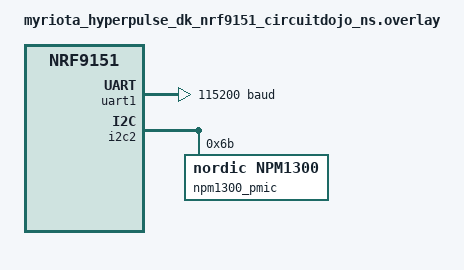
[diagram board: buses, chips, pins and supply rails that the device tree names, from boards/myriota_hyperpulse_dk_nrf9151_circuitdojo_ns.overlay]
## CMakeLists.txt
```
# Copyright (c) 2024-2025, Myriota Pty Ltd, All Rights Reserved

cmake_minimum_required(VERSION 3.20.0)

list(APPEND OVERLAY_CONFIG
     $ENV{ZEPHYR_BASE}/../modules/lib/myriota-hyperpulse/lib/config/nrf91_soc.conf)

find_package(Zephyr REQUIRED HINTS $ENV{ZEPHYR_BASE})
set(CMAKE_EXPORT_COMPILE_COMMANDS ON)

project(demo)

# Application sources
file(
  GLOB
  app_sources
  src/app_gnss.c
  src/configuration.c
  src/downlink_num.c
  src/hardware_controls.c
  src/main.c
  src/modem.c
  src/modem_urc.c
  src/periodic_uplink.c)
target_sources(app PRIVATE ${app_sources})

include_directories(include)
```

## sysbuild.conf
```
# sysbuild configuration file across targets

# Merge application hex and network information hex
SB_CONFIG_HYPERPULSE_MERGE_APP_AND_NETWORK_INFO=n
```

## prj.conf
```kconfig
# Common configuration file across targets

# Enable Module
CONFIG_HYPERPULSE=y

# Logging
CONFIG_LOG=y
CONFIG_LOG_PRINTK=y
CONFIG_LOG_DEFAULT_LEVEL=3
CONFIG_LOG_BUFFER_SIZE=10240
CONFIG_LOG_BACKEND_UART=y
CONFIG_LOG_TIMESTAMP_64BIT=y
CONFIG_LOG_RUNTIME_FILTERING=y
CONFIG_NCS_BOOT_BANNER=n

CONFIG_LED=y
CONFIG_LED_GPIO=y

# Shell support
CONFIG_SERIAL=y
CONFIG_CONSOLE=y
CONFIG_UART_CONSOLE=y
CONFIG_UART_LINE_CTRL=y
CONFIG_SHELL=y
CONFIG_SHELL_BACKEND_SERIAL=y
CONFIG_SHELL_PROMPT_UART="myriota:~$ "
CONFIG_SHELL_MINIMAL=y
CONFIG_SHELL_LOG_BACKEND=n
CONFIG_SHELL_HISTORY=y
CONFIG_SHELL_CMDS=y
CONFIG_SHELL_HELP=y
CONFIG_SHELL_HELP_OPT_PARSE=y
CONFIG_SHELL_AUTOSTART=n
CONFIG_SHELL_STACK_SIZE=4096

# Settings support
CONFIG_FILE_SYSTEM=y
CONFIG_FILE_SYSTEM_LITTLEFS=y

CONFIG_SETTINGS=y
CONFIG_SETTINGS_SHELL=y
CONFIG_SETTINGS_FILE=y
CONFIG_SETTINGS_FILE_PATH="/edge/settings"

CONFIG_PM_DEVICE=y

# Disable file system logging
CONFIG_FS_LOG_LEVEL_OFF=y

# FS is stack heavy
CONFIG_MAIN_STACK_SIZE=4096
CONFIG_SYSTEM_WORKQUEUE_STACK_SIZE=4096

CONFIG_STATIC_INIT_GNU=y

# Enable system reset on fatal error
CONFIG_RESET_ON_FATAL_ERROR=y

CONFIG_TFM_SECURE_UART1=n
```

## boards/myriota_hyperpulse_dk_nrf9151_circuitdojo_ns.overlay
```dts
/* Keep UART1 enabled for external FTDI test mode. */
&uart1 {
	status = "okay";
	current-speed = <115200>;
	pinctrl-0 = <&uart1_default>;
	pinctrl-1 = <&uart1_sleep>;
	pinctrl-names = "default", "sleep";
	/delete-property/ hw-flow-control;
};

/ {
	chosen {
		zephyr,console = &uart0;
		zephyr,shell-uart = &uart0;
	};

	aliases {
		led0 = &npm1300_led;
		led1 = &npm1300_led;
		led3 = &npm1300_led;
	};
};

&i2c2 {
	npm1300_pmic: pmic@6b {
		compatible = "nordic,npm1300";
		reg = <0x6b>;

		npm1300_led: leds {
			compatible = "nordic,npm1300-led";
			nordic,led0-mode = "host";
			nordic,led1-mode = "host";
			nordic,led2-mode = "host";
		};
	};
};
```

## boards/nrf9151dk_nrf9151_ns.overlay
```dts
/* Keep UART1 enabled for external FTDI test mode. */
&uart1 {
	status = "okay";
	current-speed = <115200>;
	pinctrl-0 = <&uart1_default>;
	pinctrl-1 = <&uart1_sleep>;
	pinctrl-names = "default", "sleep";
	/delete-property/ hw-flow-control;
};

/ {
	chosen {
		zephyr,console = &uart0;
		zephyr,shell-uart = &uart0;
	};
};
```

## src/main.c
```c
/****************************************************************
 * Copyright (c) 2025-2026, Myriota Pty Ltd, All Rights Reserved
 * @file  main.c
 * @brief Entry point for application
 *
 * SPDX-License-Identifier: BSD-3-Clause-Attribution
 *
 * This file is licensed under the BSD with attribution  (the "License"); you
 * may not use these files except in compliance with the License.
 *
 * You may obtain a copy of the License here:
 * LICENSE-BSD-3-Clause-Attribution.txt and at
 * https://spdx.org/licenses/BSD-3-Clause-Attribution.html
 *
 * See the License for the specific language governing permissions and
 * limitations under the License.
 *****************************************************************/
#include <zephyr/kernel.h>
#include <zephyr/logging/log.h>
#include <zephyr/shell/shell.h>
#include <zephyr/shell/shell_uart.h>
#include <zephyr/sys/printk.h>

#include <stdlib.h>

#include <app_version.h>
#include "git_version.h"

#include "app_gnss.h"
#include "configuration.h"
#include "hardware_controls.h"
#include "hyperpulse_lib.h"
#include "modem.h"
#include "periodic_uplink.h"

LOG_MODULE_REGISTER(demo_app, LOG_LEVEL_INF);

int main(void)
{
	printk("Demo Application: v%s\n", APP_VERSION_STRING);

	// Check for successful HyperPulse library initialisation at start of main
	// since CONFIG_HYPERPULSE_AUTO_LIB_INIT is set to y
	if (!hyperpulse_lib_is_initialised()) {
		LOG_ERR("HyperPulse library failed to initialise");
		return 0;
	}

	// Initialise configuration
	config_init();


	
	// Start shell after configuration has been initialised
	if (IS_ENABLED(CONFIG_SHELL_BACKEND_SERIAL)) {
		shell_start(shell_backend_uart_get_ptr());
	}

	// Initialise hardware control
	hardware_control_init();

	// Signal initialising complete
	hardware_control_flash_led(LED_1, 1);

	printk("HOLAS\n");

	// Wait for an initial valid GNSS fix before starting the message scheduler
	app_gnss_wait_for_valid_fix();

	modem_enable_downlink_message_notification();

	// Start the periodic uplink message scheduler
	periodic_uplink_init_and_start();

	// Signal message scheduler start
	hardware_control_flash_led(LED_1, 2);

	for (;;) {
		k_sleep(K_FOREVER);
	}

	return 0;
}

static void sh_print_app_version(const struct shell *sh, size_t argc, char **argv)
{
	ARG_UNUSED(argv);
	ARG_UNUSED(argc);
	shell_print(sh, "%s", APP_VERSION_STRING);
	return;
}

/* clang-format off */
SHELL_STATIC_SUBCMD_SET_CREATE(
	sub_app,
	SHELL_CMD(version, NULL, "print application version", sh_print_app_version),
	SHELL_SUBCMD_SET_END /* Array terminated. */
);
/* clang-format on */

SHELL_CMD_REGISTER(app, &sub_app, "Application commands", NULL);
```

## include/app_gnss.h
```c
/****************************************************************
 * Copyright (c) 2025, Myriota Pty Ltd, All Rights Reserved
 * @file  app_gnss.h
 * @brief Handle GNSS fix acquisition and related AT commands.
 *
 * SPDX-License-Identifier: BSD-3-Clause-Attribution
 *
 * This file is licensed under the BSD with attribution  (the "License"); you
 * may not use these files except in compliance with the License.
 *
 * You may obtain a copy of the License here:
 * LICENSE-BSD-3-Clause-Attribution.txt and at
 * https://spdx.org/licenses/BSD-3-Clause-Attribution.html
 *
 * See the License for the specific language governing permissions and
 * limitations under the License.
 *****************************************************************/
#ifndef APP_GNSS_H
#define APP_GNSS_H

#include "modem.h"

/**
 * @defgroup app_gnss GNSS Application Interface
 * @brief Functions to acquire and handle GNSS fixes using the HyperPulse library.
 *
 * This module provides functions to wait for a valid GNSS fix, retrieve
 * fix data, and queue location updates received via the modem's URC layer.
 * @{
 */

/**
 * @brief Block until a valid GNSS fix is obtained.
 *
 * This function is used at startup to ensure the system
 * has a valid location before proceeding.
 */
void app_gnss_wait_for_valid_fix(void);

/**
 * @brief Obtain the current GNSS fix (position and timestamp).
 *
 * @param[out] location Pointer to a struct to store the fix information.
 * @return 0 if succeeded, negative value if failed.
 */
int app_gnss_get_fix(modem_location_info_t *const location);

/**
 * @brief Called by the Modem URC layer when a parsed location is available.
 *
 * This function will queue the new location for the application to consume.
 *
 * @param[in] location Pointer to the location struct containing the new fix.
 * @return 0 if succeeded, negative value if failed.
 */
int app_gnss_push_location_to_queue(const modem_location_info_t *const location);

/** @} */ // end of app_gnss

#endif /* APP_GNSS_H */
```

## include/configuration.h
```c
/****************************************************************
 * Copyright (c) 2025, Myriota Pty Ltd, All Rights Reserved
 * @file  configuration.h
 * @brief Application configuration interface
 *
 * SPDX-License-Identifier: BSD-3-Clause-Attribution
 *
 * This file is licensed under the BSD with attribution  (the "License"); you
 * may not use these files except in compliance with the License.
 *
 * You may obtain a copy of the License here:
 * LICENSE-BSD-3-Clause-Attribution.txt and at
 * https://spdx.org/licenses/BSD-3-Clause-Attribution.html
 *
 * See the License for the specific language governing permissions and
 * limitations under the License.
 *****************************************************************/
#ifndef CONFIGURATION_H
#define CONFIGURATION_H

#include <stdint.h>
#include <stdbool.h>

/**
 * @defgroup app_config Application Configuration API
 * @brief Functions to initialize and retrieve application configuration parameters.
 * @{
 */

/**
 * @brief Initialize the configuration module.
 *
 * Must be called before any other configuration functions.
 *
 * @return 0 if succeeded, negative value if failed.
 */
int config_init(void);

/**
 * @brief Get the set configured time between transmitted messages.
 *
 * @return Message period in seconds.
 */
uint32_t config_get_uplink_message_period(void);

/**
 * @brief Check if GNSS fix is enabled for messages.
 *
 * @return true if GNSS fix is enabled, false otherwise.
 */
bool config_get_enable_gnss_state(void);

/**
 * @brief Check if humidity field is enabled for messages.
 *
 * @return true if humidity reporting is enabled, false otherwise.
 */
bool config_get_enable_humidity_state(void);

/** @} */ // end of app_config

#endif /* CONFIGURATION_H */
```

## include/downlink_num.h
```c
#ifndef DOWNLINK_NUM_H
#define DOWNLINK_NUM_H

#include <stdbool.h>
#include <stdint.h>

void downlink_num_set(uint8_t value);
bool downlink_num_get(uint8_t *value);

#endif // DOWNLINK_NUM_H
```

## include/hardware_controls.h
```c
/****************************************************************
 * Copyright (c) 2025, Myriota Pty Ltd, All Rights Reserved
 * @file  hardware_controls.h
 * @brief Interface for hardware control.
 *
 * SPDX-License-Identifier: BSD-3-Clause-Attribution
 *
 * This file is licensed under the BSD with attribution  (the "License"); you
 * may not use these files except in compliance with the License.
 *
 * You may obtain a copy of the License here:
 * LICENSE-BSD-3-Clause-Attribution.txt and at
 * https://spdx.org/licenses/BSD-3-Clause-Attribution.html
 *
 * See the License for the specific language governing permissions and
 * limitations under the License.
 *****************************************************************/
#ifndef HARDWARE_CONTROLS_H
#define HARDWARE_CONTROLS_H

/**
 * @defgroup hardware_controls Hardware Controls
 * @brief API for controlling LEDs and other hardware peripherals.
 * @{
 */

/**
 * @brief LED identifiers
 */
typedef enum {
	LED_1 = 0, /**< LED 1 */
	LED_2,     /**< LED 2 */
} led_id_t;

/**
 * @brief Flash an LED a specified number of times.
 *
 * @param[in] led_id ID of the LED to flash (from led_id_t)
 * @param[in] count Number of times to flash the LED
 * @return 0 if succeeded, negative value if failed
 */
int hardware_control_flash_led(const led_id_t led_id, const int count);

/**
 * @brief Initialize hardware controls.
 *
 * Sets up any necessary hardware peripherals.
 */
void hardware_control_init(void);

/** @} */ // end of hardware_controls group

#endif /* HARDWARE_CONTROLS_H */
```

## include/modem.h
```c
/****************************************************************
 * Copyright (c) 2025, Myriota Pty Ltd, All Rights Reserved
 * @file  modem.h
 * @brief Helper functions for interacting with the HyperPulse library.
 *
 * SPDX-License-Identifier: BSD-3-Clause-Attribution
 *
 * This file is licensed under the BSD with attribution  (the "License"); you
 * may not use these files except in compliance with the License.
 *
 * You may obtain a copy of the License here:
 * LICENSE-BSD-3-Clause-Attribution.txt and at
 * https://spdx.org/licenses/BSD-3-Clause-Attribution.html
 *
 * See the License for the specific language governing permissions and
 * limitations under the License.
 *****************************************************************/
#include <time.h>
#include <stdint.h>

#ifndef MODEM_H
#define MODEM_H

/**
 * @brief Maximum downlink message size in bytes
 */
#define MODEM_DOWNLINK_MSG_SIZE 250

/**
 * @brief Maximum downlink message length in hexadecimal
 * Note: One byte is represented by two hexadecimal characters
 */
#define MODEM_DOWNLINK_MSG_HEX_SIZE (2 * MODEM_DOWNLINK_MSG_SIZE)

/**
 * @brief Maximum uplink message size in bytes
 */
#define MODEM_UPLINK_MSG_SIZE 250

/**
 * @brief Maximum uplink message length in hexadecimal
 * Note: One byte is represented by two hexadecimal characters
 */
#define MODEM_UPLINK_MSG_HEX_SIZE (2 * MODEM_UPLINK_MSG_SIZE)

/**
 * @brief Maximum buffer size in bytes for storing an AT command
 */
#define MODEM_AT_CMD_BUF_SIZE 550

/**
 * @brief Maximum buffer size in bytes for storing an AT command response
 */
#define MODEM_AT_CMD_RESPONSE_BUF_SIZE 550

/**
 * @brief Function pointer type for handler to process URC Modem Responses.
 * @param response Pointer to the URC response string
 */
typedef void (*process_urc_response_handler)(const char *const response);

/**
 * @brief Location methods for obtaining position
 */
typedef enum {
	MODEM_LOCATION_METHOD_GNSS /**< Use GNSS to obtain the location. */
} modem_location_method_t;

/**
 * @brief Location accuracy levels
 */
typedef enum {
	MODEM_LOCATION_ACCURACY_LOW,      /**< Low accuracy to save power */
	MODEM_LOCATION_ACCURACY_BALANCED, /**< Balanced power and accuracy */
	MODEM_LOCATION_ACCURACY_HIGH      /**< High accuracy, higher power usage */
} modem_location_accuracy_t;

/**
 * @brief Location request parameters
 */
typedef struct {
	modem_location_method_t method;     /**< Location method to use */
	modem_location_accuracy_t accuracy; /**< Accuracy level for the fix */
	uint32_t timeout_s;                 /**< Timeout in seconds */
	uint32_t max_age_last_update_s;     /**< Maximum age in seconds for last update of specified
					       method and accuracy to be considered valid */
} modem_location_request_t;

/**
 * @brief Geo-location structure
 */
typedef struct {
	int32_t latitude;     /**< Latitude in 0.1 micro-degrees */
	int32_t longitude;    /**< Longitude in 0.1 micro-degrees */
	int32_t elevation_mm; /**< Elevation in millimeters */
} modem_geo_location_t;

/**
 * @brief Location info returned from the modem
 */
typedef struct {
	modem_location_accuracy_t accuracy; /**< GNSS fix accuracy */
	modem_geo_location_t position;      /**< Geo-location coordinates */
	time_t timestamp_s;                 /**< Unix Epoch time of location fix */
} modem_location_info_t;

/**
 * @brief Enable downlink message notifications.
 * Downlink messages are received as Unsolicited Response Code (URC)
 * and can be retrieved through \p hyperpulse_lib_unsolicited_at_response_app_handler
 * @return 0 on success, negative on failure
 */
int32_t modem_enable_downlink_message_notification(void);

/**
 * @brief Get the received downlink message.
 * @param[in] downlink_message_at_response Pointer to the data retrieved from the URC handler
 * @param[out] downlink_message_hex Downlink message in hexadecimal format
 * @param[out] downlink_message_len Length of the received downlink message in bytes
 * @return 0 on success, negative on failure
 */
int modem_get_downlink_message(const char *const downlink_message_at_response,
			       char *downlink_message_hex, uint32_t *downlink_message_len);

/**
 * @brief Schedule a message for the NTN network
 * @param[in] uplink_msg Pointer to the binary data to be sent
 * @param[in] msg_len Length of the data in bytes
 * @return 0 on success, negative on failure
 */
int32_t modem_schedule_uplink_message(const char *const uplink_msg, const size_t msg_len);

/**
 * @brief Parse the location info from a modem AT command response
 * @param[in] location_at_cmd_response Buffer containing the location AT command response
 * @param[out] location Parsed location information
 * @return 0 on success, negative on failure
 */
int32_t modem_parse_location_response(const char *const location_at_cmd_response,
				      modem_location_info_t *const location);

/**
 * @brief Retrieve the current temperature measured by the modem
 * @param[out] temperature_celsius Pointer to store the temperature in degrees Celsius
 * @return 0 on success
 * @return -EINVAL Invalid argument or parse failure
 * @return -EIO AT command failed or modem returned an unexpected response
 */
int32_t modem_get_temperature_celsius(int8_t *const temperature_celsius);

/**
 * @brief Retrieve the current battery voltage
 * @param[out] voltage_mv Pointer to store the measured battery voltage in millivolts
 * @return 0 on success
 * @return -EINVAL Invalid argument or parse failure
 * @return -EIO AT command failed or modem returned an unexpected response
 */
int32_t modem_get_battery_voltage_mv(uint16_t *const voltage_mv);

/**
 * @brief Retrieve the current system time in seconds
 * @param[out] system_time_s Pointer to store the current system time in seconds since epoch
 * @return 0 on success
 * @return -EINVAL Invalid argument or parse failure
 * @return -EIO AT command failed
 */
int32_t modem_get_system_time_s(time_t *const system_time_s);

/**
 * @brief Request a GNSS-based location fix from the modem
 * @param[in] request Location request parameters (method, accuracy, max age, timeout)
 * @return 0 on success
 * @return -EIO AT command failed
 */
int32_t modem_request_location(const modem_location_request_t request);

#endif
```

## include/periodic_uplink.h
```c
/****************************************************************
 * Copyright (c) 2025, Myriota Pty Ltd, All Rights Reserved
 * @file  periodic_uplink.h
 * @brief Manage periodic uplink message scheduling work
 *
 * SPDX-License-Identifier: BSD-3-Clause-Attribution
 *
 * This file is licensed under the BSD with attribution  (the "License"); you
 * may not use these files except in compliance with the License.
 *
 * You may obtain a copy of the License here:
 * LICENSE-BSD-3-Clause-Attribution.txt and at
 * https://spdx.org/licenses/BSD-3-Clause-Attribution.html
 *
 * See the License for the specific language governing permissions and
 * limitations under the License.
 *****************************************************************/
#ifndef PERIODIC_UPLINK_H
#define PERIODIC_UPLINK_H

#include <stdint.h>

/**
 * @defgroup periodic_uplink Periodic Uplink
 * @brief API for managing periodic uplink message scheduling
 * @{
 */

/**
 * @brief Initialise and start the periodic uplink message scheduler.
 *
 * Once started, the scheduler will begin sending uplink messages at the
 * configured interval. This function is called once during system
 * initialization.
 */
void periodic_uplink_init_and_start(void);

/**
 * @brief Stop the periodic uplink message scheduler.
 *
 * Halts any ongoing uplink message scheduling and prevents further messages
 * from being sent until the uplink message scheduler is restarted.
 *
 * @return 0 if succeeded, negative value if failed
 */
int periodic_uplink_stop(void);

/**
 * @brief Update the periodic uplink message scheduler with a new period.
 *
 * The new period takes effect immediately for subsequent messages after
 * the function is called.
 *
 * @param[in] new_period Period for uplink message scheduling, in seconds
 * @return 0 if succeeded, negative value if failed
 */
int periodic_uplink_update_period(const uint32_t new_period);

/**
 * @brief Trigger an immediate uplink message scheduling run.
 *
 * Queues uplink work to run as soon as possible without disabling
 * periodic scheduling.
 *
 * @return 0 if succeeded, negative value if failed
 */
int periodic_uplink_trigger_now(void);

/** @} */ // end of periodic_uplink group

#endif /* PERIODIC_UPLINK_H */
```

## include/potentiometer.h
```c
#ifndef POTENTIOMETER_H
#define POTENTIOMETER_H

#include <stdint.h>

/* Configure ADC channel resources used by the potentiometer input. */
int potentiometer_init(void);
/* Read one raw ADC sample from the potentiometer channel. */
int potentiometer_read_raw(uint16_t *raw_value);

#endif /* POTENTIOMETER_H */
```

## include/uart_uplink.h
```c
/****************************************************************
 * Copyright (c) 2025-2026, Myriota Pty Ltd, All Rights Reserved
 * @file  uart_uplink.h
 * @brief UART-triggered uplink listener API
 *
 * SPDX-License-Identifier: BSD-3-Clause-Attribution
 *
 * This file is licensed under the BSD with attribution  (the "License"); you
 * may not use these files except in compliance with the License.
 *
 * You may obtain a copy of the License here:
 * LICENSE-BSD-3-Clause-Attribution.txt and at
 * https://spdx.org/licenses/BSD-3-Clause-Attribution.html
 *
 * See the License for the specific language governing permissions and
 * limitations under the License.
 *****************************************************************/
#ifndef UART_UPLINK_H
#define UART_UPLINK_H

/**
 * @brief Start the UART line listener thread for uplink triggering.
 */
void uart_uplink_start(void);

#endif /* UART_UPLINK_H */
```

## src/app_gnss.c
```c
/****************************************************************
 * Copyright (c) 2025, Myriota Pty Ltd, All Rights Reserved
 * @file  app_gnss.c
 * @brief GNSS fix acquisition and related functions.
 *
 * SPDX-License-Identifier: BSD-3-Clause-Attribution
 *
 * This file is licensed under the BSD with attribution  (the "License"); you
 * may not use these files except in compliance with the License.
 *
 * You may obtain a copy of the License here:
 * LICENSE-BSD-3-Clause-Attribution.txt and at
 * https://spdx.org/licenses/BSD-3-Clause-Attribution.html
 *
 * See the License for the specific language governing permissions and
 * limitations under the License.
 *****************************************************************/
#include <zephyr/kernel.h>
#include <zephyr/logging/log.h>

#include "app_gnss.h"
#include "hardware_controls.h"
#include "configuration.h"

LOG_MODULE_REGISTER(app_gnss, LOG_LEVEL_INF);

#define LOCATION_UPDATE_TIMEOUT_SECS  360
#define LOCATION_REQUEST_TIMEOUT_SECS 90
#define LOCATION_MSGQ_TIMEOUT_MS      5000

// Queue size 1: store only the latest location.
K_MSGQ_DEFINE(location_info_queue, sizeof(modem_location_info_t), 1, 1);

int app_gnss_push_location_to_queue(const modem_location_info_t *const location)
{
	if (!location) {
		return -EINVAL;
	}

	const int64_t start_time = k_uptime_get();

	while (k_msgq_put(&location_info_queue, location, K_NO_WAIT) != 0) {
		// message queue is full: purge old data & try again
		k_msgq_purge(&location_info_queue);

		if ((k_uptime_get() - start_time) >= LOCATION_MSGQ_TIMEOUT_MS) {
			LOG_ERR("Failed to push location info in the queue");
			return -ETIMEDOUT;
		}

		k_msleep(1);
	}

	return 0;
}

void app_gnss_wait_for_valid_fix(void)
{
	const modem_location_request_t request = {.method = MODEM_LOCATION_METHOD_GNSS,
						  .accuracy = MODEM_LOCATION_ACCURACY_LOW,
						  .max_age_last_update_s = 0,
						  .timeout_s = LOCATION_REQUEST_TIMEOUT_SECS};

	// Before requesting location info from modem, empty location info queue.
	k_msgq_purge(&location_info_queue);

	if (modem_request_location(request) != 0) {
		LOG_ERR("Failed to request location info from modem");
		return;
	}

	// Wait until Modem URC handler pushes a location info into the queue.
	modem_location_info_t location = {0};
	while (1) {
		if (k_msgq_get(&location_info_queue, &location, K_MSEC(100)) == 0) {
			// A GNSS fix has been obtained.
			break;
		} else {
			// Signal waiting for a GNSS fix.
			hardware_control_flash_led(LED_2, 1);
		}
	}

	return;
}

int app_gnss_get_fix(modem_location_info_t *const location)
{
	if (!location) {
		return -EINVAL;
	}

	modem_location_request_t request;
	request.method = MODEM_LOCATION_METHOD_GNSS;
	request.timeout_s = LOCATION_REQUEST_TIMEOUT_SECS;

	if (config_get_enable_gnss_state()) {
		// Request a new valid GNSS fix.
		request.accuracy = MODEM_LOCATION_ACCURACY_HIGH;
		request.max_age_last_update_s = 0;
	} else {
		// Allow reuse of the last valid GNSS fix by setting a large max age value.
		// This minimizes power consumption by avoiding a new GNSS acquisition.
		request.accuracy = MODEM_LOCATION_ACCURACY_LOW;
		request.max_age_last_update_s = UINT32_MAX;
	}

	// Before requesting location info from modem, empty location info queue.
	k_msgq_purge(&location_info_queue);

	if (modem_request_location(request) != 0) {
		LOG_ERR("Failed to request location info from modem");
		return -1;
	}

	// Wait until URC handler pushes a location info into the queue.
	int err =
		k_msgq_get(&location_info_queue, location, K_SECONDS(LOCATION_UPDATE_TIMEOUT_SECS));
	if (err != 0) {
		LOG_ERR("Failed to read location info from queue (%d)", err);
		return err;
	}

	return 0;
}
```

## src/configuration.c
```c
/****************************************************************
 * Copyright (c) 2025, Myriota Pty Ltd, All Rights Reserved
 * @file  configuration.c
 * @brief Configuration
 *
 * SPDX-License-Identifier: BSD-3-Clause-Attribution
 *
 * This file is licensed under the BSD with attribution  (the "License"); you
 * may not use these files except in compliance with the License.
 *
 * You may obtain a copy of the License here:
 * LICENSE-BSD-3-Clause-Attribution.txt and at
 * https://spdx.org/licenses/BSD-3-Clause-Attribution.html
 *
 * See the License for the specific language governing permissions and
 * limitations under the License.
 *****************************************************************/
#include <zephyr/fs/fs.h>
#include <zephyr/fs/littlefs.h>
#include <zephyr/kernel.h>
#include <zephyr/logging/log.h>
#include <zephyr/settings/settings.h>
#include <zephyr/shell/shell.h>

#include "configuration.h"
#include "periodic_uplink.h"

LOG_MODULE_REGISTER(configuration, LOG_LEVEL_INF);

#define CONFIG_SETT_KEY         "myriota"
#define CONFIG_SETT_MSG_PERIOD  "period"
#define CONFIG_SETT_GNSS_FIX    "gnss_fix"
#define CONFIG_SETT_HUM_ENABLE  "hum_enable"
#define DEFAULT_MSG_PERIOD_SECS 3600

#define STORAGE_PARTITION    storage_partition
#define STORAGE_PARTITION_ID FIXED_PARTITION_ID(STORAGE_PARTITION)

// The below variables are configurable through the shell interface
static uint32_t tx_msg_period = DEFAULT_MSG_PERIOD_SECS;
static bool enable_gnss_fix = false;
static bool enable_humidity = false;

// The mutexes are to ensure the configuration values are not
// read and written at the same time between the getters and setters.
K_MUTEX_DEFINE(msg_period_mutex);
K_MUTEX_DEFINE(gnss_fix_mutex);
K_MUTEX_DEFINE(hum_enable_mutex);

static int config_save_value(const char *sub_key, const void *data, size_t len)
{
	char key[32];
	snprintf(key, sizeof(key), "%s/%s", CONFIG_SETT_KEY, sub_key);

	int err = settings_save_one(key, data, len);
	if (err != 0) {
		LOG_ERR("Failed to save key %s (error: %d)", key, err);
		return err;
	}

	return 0;
}

uint32_t config_get_uplink_message_period(void)
{
	uint32_t period;

	k_mutex_lock(&msg_period_mutex, K_FOREVER);
	period = tx_msg_period;
	k_mutex_unlock(&msg_period_mutex);

	return period;
}

bool config_get_enable_gnss_state(void)
{
	bool enable;

	k_mutex_lock(&gnss_fix_mutex, K_FOREVER);
	enable = enable_gnss_fix;
	k_mutex_unlock(&gnss_fix_mutex);

	return enable;
}

bool config_get_enable_humidity_state(void)
{
	bool enable;

	k_mutex_lock(&hum_enable_mutex, K_FOREVER);
	enable = enable_humidity;
	k_mutex_unlock(&hum_enable_mutex);

	return enable;
}

static int config_set_tx_message_period(const uint32_t period)
{
	int err = config_save_value(CONFIG_SETT_MSG_PERIOD, &period, sizeof(period));
	if (err != 0) {
		return err;
	}

	k_mutex_lock(&msg_period_mutex, K_FOREVER);
	tx_msg_period = period;
	k_mutex_unlock(&msg_period_mutex);

	if (period > 0) {
		periodic_uplink_update_period(period);
	} else {
		periodic_uplink_stop();
	}

	return 0;
}

static int config_set_enable_gnss_state(bool enable)
{
	int err = config_save_value(CONFIG_SETT_GNSS_FIX, &enable, sizeof(enable));
	if (err != 0) {
		return err;
	}

	k_mutex_lock(&gnss_fix_mutex, K_FOREVER);
	enable_gnss_fix = enable;
	k_mutex_unlock(&gnss_fix_mutex);

	return 0;
}

static int config_set_enable_humidity_state(bool enable)
{
	int err = config_save_value(CONFIG_SETT_HUM_ENABLE, &enable, sizeof(enable));
	if (err != 0) {
		return err;
	}

	k_mutex_lock(&hum_enable_mutex, K_FOREVER);
	enable_humidity = enable;
	k_mutex_unlock(&hum_enable_mutex);

	return 0;
}

static int myriota_settings_set(const char *setting, size_t length, settings_read_cb read_cb,
				void *cb_arg)
{
	int err = 0;
	const char *next;

	if (settings_name_steq(setting, CONFIG_SETT_MSG_PERIOD, &next)) {
		err = read_cb(cb_arg, &tx_msg_period, sizeof(tx_msg_period));
		if (err >= 0) {
			return 0;
		}
		return err;

	} else if (settings_name_steq(setting, CONFIG_SETT_GNSS_FIX, &next)) {
		err = read_cb(cb_arg, &enable_gnss_fix, sizeof(enable_gnss_fix));
		if (err >= 0) {
			return 0;
		}
		return err;
	} else if (settings_name_steq(setting, CONFIG_SETT_HUM_ENABLE, &next)) {
		err = read_cb(cb_arg, &enable_humidity, sizeof(enable_humidity));
		if (err >= 0) {
			return 0;
		}
		return err;
	}

	return -ENOENT;
}

static struct settings_handler myriota_conf = {
	.name = "myriota",
	.h_set = myriota_settings_set,
};

int config_init(void)
{
	FS_LITTLEFS_DECLARE_DEFAULT_CONFIG(cstorage);

	static struct fs_mount_t littlefs_mnt = {.type = FS_LITTLEFS,
						 .fs_data = &cstorage,
						 .storage_dev = (void *)STORAGE_PARTITION_ID,
						 .mnt_point = "/edge"};

	int err = fs_mount(&littlefs_mnt);
	if (err != 0) {
		LOG_ERR("Failed to mount littlefs (error: %d)", err);
	}

	err = settings_subsys_init();
	if (err != 0) {
		LOG_ERR("Settings subsystem init failed (err %d)", err);
		return err;
	}

	err = settings_register(&myriota_conf);
	if (err != 0) {
		LOG_ERR("Settings handler registration failed (err %d)", err);
		return err;
	}

	err = settings_load();
	if (err != 0) {
		LOG_ERR("Failed to load settings (err %d)", err);
		return err;
	}

	LOG_INF("Configuration initialized: period=%u s, GNSS=%s, Humidity=%s", tx_msg_period,
		enable_gnss_fix ? "enabled" : "disabled",
		enable_humidity ? "enabled" : "disabled");

	return 0;
}

static void sh_config_period(const struct shell *sh, size_t argc, char **argv)
{
	if (argc == 1) {
		shell_print(sh, "%u", config_get_uplink_message_period());
		return;
	}

	if (argc == 2) {
		uint32_t period = strtoul(argv[1], NULL, 10);
		if (config_set_tx_message_period(period) == 0) {
			shell_print(sh, "OK");
		}
		return;
	}

	shell_error(sh, "Usage: cfg period [seconds]");
}

static void sh_config_gnss_fix(const struct shell *sh, size_t argc, char **argv)
{
	if (argc == 1) {
		shell_print(sh, "%s", (config_get_enable_gnss_state() ? "enabled" : "disabled"));
		return;
	}

	if (argc == 2) {
		int val = strtol(argv[1], NULL, 10);
		if (val != true && val != false) {
			shell_error(sh, "Value must be 0 or 1");
			return;
		}

		if (config_set_enable_gnss_state(val) == 0) {
			shell_print(sh, "OK");
		}
		return;
	}

	shell_error(sh, "Usage: cfg gnss_fix [0|1]");
}

static void sh_config_hum_enable(const struct shell *sh, size_t argc, char **argv)
{
	if (argc == 1) {
		shell_print(sh, "%s", (config_get_enable_humidity_state() ? "enabled" : "disabled"));
		return;
	}

	if (argc == 2) {
		int val = strtol(argv[1], NULL, 10);
		if (val != true && val != false) {
			shell_error(sh, "Value must be 0 or 1");
			return;
		}

		if (config_set_enable_humidity_state(val) == 0) {
			shell_print(sh, "OK");
		}
		return;
	}

	shell_error(sh, "Usage: cfg hum_enable [0|1]");
}

/* clang-format off */
SHELL_STATIC_SUBCMD_SET_CREATE(sub_cfg,
	SHELL_CMD(period, NULL,
		"Get/set message schedule period in seconds (default: 3600)",
		sh_config_period),
	SHELL_CMD(gnss_fix, NULL,
		"Get/set GNSS fix enable state (0=disable, 1=enable)",
		sh_config_gnss_fix),
	SHELL_CMD(hum_enable, NULL,
		"Get/set humidity field enable state (0=disable, 1=enable)",
		sh_config_hum_enable),
	SHELL_SUBCMD_SET_END
);
/* clang-format on */

SHELL_CMD_REGISTER(cfg, &sub_cfg, "Configuration commands", NULL);
```

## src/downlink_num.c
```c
#include <zephyr/kernel.h>

#include "downlink_num.h"

static K_MUTEX_DEFINE(downlink_num_mutex);
static bool downlink_num_available;
static uint8_t downlink_num_value;

void downlink_num_set(uint8_t value)
{
	k_mutex_lock(&downlink_num_mutex, K_FOREVER);
	downlink_num_value = value;
	downlink_num_available = true;
	k_mutex_unlock(&downlink_num_mutex);
}

bool downlink_num_get(uint8_t *value)
{
	if (value == NULL) {
		return false;
	}

	bool available;

	k_mutex_lock(&downlink_num_mutex, K_FOREVER);
	available = downlink_num_available;
	if (available) {
		*value = downlink_num_value;
	}
	k_mutex_unlock(&downlink_num_mutex);

	return available;
}
```

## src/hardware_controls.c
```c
/****************************************************************
 * Copyright (c) 2025, Myriota Pty Ltd, All Rights Reserved
 * @file  hardware_controls.c
 * @brief Interface for hardware control.
 *
 * SPDX-License-Identifier: BSD-3-Clause-Attribution
 *
 * This file is licensed under the BSD with attribution  (the "License"); you
 * may not use these files except in compliance with the License.
 *
 * You may obtain a copy of the License here:
 * LICENSE-BSD-3-Clause-Attribution.txt and at
 * https://spdx.org/licenses/BSD-3-Clause-Attribution.html
 *
 * See the License for the specific language governing permissions and
 * limitations under the License.
 *****************************************************************/
#include <zephyr/devicetree.h>
#include <zephyr/kernel.h>
#include <zephyr/logging/log.h>
#include <zephyr/logging/log_ctrl.h>

#include "hardware_controls.h"

#if IS_ENABLED(CONFIG_PM_DEVICE)
#include <zephyr/pm/device.h>
#endif

#if IS_ENABLED(CONFIG_GPIO)
#include <zephyr/drivers/gpio.h>
#endif

#if IS_ENABLED(CONFIG_REGULATOR)
#include <zephyr/drivers/regulator.h>
#endif

#if IS_ENABLED(CONFIG_SENSOR)
#include <zephyr/drivers/sensor.h>
#endif

#if IS_ENABLED(CONFIG_LED)
#include <zephyr/drivers/led.h>
#endif

#if IS_ENABLED(CONFIG_REGULATOR_NPM1300)
#include <zephyr/drivers/mfd/npm1300.h>

// Addresses
#define NPM1300_BUCK_BASE          0x04U
#define NPM1300_BUCK_OFFSET_EN_CLR 0x01U
#define NPM1300_BUCK_BUCKCTRL0     0x15U
#define NPM1300_BUCK_STATUS        0x34U

// Bits
#define NPM1300_BUCK2_MODE_BIT    BIT(0)
#define NPM1300_BUCK2_PULLDOWN_EN BIT(3)
#endif

LOG_MODULE_REGISTER(hw_ctrl, LOG_LEVEL_INF);

static int hardware_control_disable_accelerometer(void)
{
#if DT_NODE_EXISTS(DT_ALIAS(accel0))
	const struct device *const sensor = DEVICE_DT_GET(DT_ALIAS(accel0));

	if (!device_is_ready(sensor)) {
		LOG_ERR("Could not get accel0 device");
		return -1;
	}

	// Disable the accelerometer
	struct sensor_value odr = {
		.val1 = 0,
	};

	int rc = sensor_attr_set(sensor, SENSOR_CHAN_ACCEL_XYZ, SENSOR_ATTR_SAMPLING_FREQUENCY,
				 &odr);
	if (rc != 0) {
		LOG_ERR("Failed to set odr: %d", rc);
		return rc;
	}

	LOG_INF("Accelerometer disabled");
	return 0;

#else
	return -ENXIO;
#endif
}

static int hardware_control_disable_switch0(void)
{
#if DT_NODE_EXISTS(DT_ALIAS(sw0))
	const struct gpio_dt_spec sw0 = GPIO_DT_SPEC_GET(DT_ALIAS(sw0), gpios);

	gpio_pin_configure_dt(&sw0, GPIO_DISCONNECTED);

	LOG_INF("SW0 disabled");
	return 0;

#else
	return -ENXIO;
#endif
}

static int hardware_control_disable_external_flash(void)
{
#if DT_NODE_EXISTS(DT_ALIAS(ext_flash))
	const struct device *const spi_nor = DEVICE_DT_GET(DT_ALIAS(ext_flash));

	// Disable external flash
	int err = pm_device_action_run(spi_nor, PM_DEVICE_ACTION_SUSPEND);
	if (err < 0) {
		LOG_ERR("Unable to suspend SPI NOR flash. (err: %d)", err);
		return err;
	}

	LOG_INF("External flash disabled");
	return 0;

#else
	return -ENXIO;
#endif
}

static int console_set_mode(bool enable)
{
#if DT_NODE_EXISTS(DT_CHOSEN(zephyr_console))
	const struct device *const console_dev = DEVICE_DT_GET(DT_CHOSEN(zephyr_console));

	if (!device_is_ready(console_dev)) {
		return -ENODEV;
	}

	int err = 0;
	enum pm_device_state state;

	err = pm_device_state_get(console_dev, &state);
	if (err != 0) {
		LOG_ERR("Failed to read console state (err: %d)", err);
		return err;
	}

	if (enable && (state != PM_DEVICE_STATE_ACTIVE)) {
		// Enable console UART
		err = pm_device_action_run(console_dev, PM_DEVICE_ACTION_RESUME);
		if (err < 0) {
			LOG_ERR("Unable to enable console (err: %d)", err);
			return err;
		}

	} else if (!enable && (state == PM_DEVICE_STATE_ACTIVE)) {
		// Disable console UART
		err = pm_device_action_run(console_dev, PM_DEVICE_ACTION_SUSPEND);
		if (err < 0) {
			LOG_ERR("Unable to suspend console (err: %d)", err);
			return err;
		}

		// Turn off to save power
		NRF_CLOCK->TASKS_HFCLKSTOP = 1;

	} else {
		LOG_INF("Console is already %s", enable ? "enabled" : "disabled");
	}

	return 0;
#else
	return -ENXIO;
#endif
}

#if DT_NODE_EXISTS(DT_NODELABEL(npm1300_buck2)) && DT_NODE_EXISTS(DT_NODELABEL(npm1300_pmic))

#define USB_CONN_TASK_STACK_SIZE 500
#define USB_CONN_TASK_PRIORITY   5

K_THREAD_STACK_DEFINE(usb_conn_stack_area, USB_CONN_TASK_STACK_SIZE);
struct k_thread usb_conn_thread_data;

static volatile bool vbus_connected = false;

// USB detect semaphore
K_SEM_DEFINE(usb_detect_sem, 0, 1);

static int buck2_set_mode(bool enabled)
{
	const struct device *const buck2 = DEVICE_DT_GET(DT_NODELABEL(npm1300_buck2));
	const struct device *const pmic = DEVICE_DT_GET(DT_NODELABEL(npm1300_pmic));

	if (!device_is_ready(pmic)) {
		LOG_ERR("Failed to get PMIC device\n");
		return -ENODEV;
	}

	int err = 0;
	if (enabled) {
		err = regulator_enable(buck2);
		if (err < 0) {
			LOG_ERR("Failed to enable buck2: %d", err);
			return err;
		}

		err = mfd_npm1300_reg_update(pmic, NPM1300_BUCK_BASE, NPM1300_BUCK_BUCKCTRL0, 0,
					     NPM1300_BUCK2_PULLDOWN_EN);
		if (err < 0) {
			LOG_ERR("Failed to set buck2 pulldown. Err: %d", err);
			return err;
		}
	} else {
		err = regulator_disable(buck2);
		if (err < 0) {
			LOG_ERR("Failed to disable buck2: %d", err);
			return err;
		}
		err = mfd_npm1300_reg_update(pmic, NPM1300_BUCK_BASE, NPM1300_BUCK_BUCKCTRL0,
					     NPM1300_BUCK2_PULLDOWN_EN, NPM1300_BUCK2_PULLDOWN_EN);
		if (err < 0) {
			LOG_ERR("Failed to set buck2 pulldown. Err: %d", err);
			return err;
		}
	}

	return 0;
}

static void usb_connection_task(void *, void *, void *)
{
	for (;;) {
		// Wait for semaphore
		k_sem_take(&usb_detect_sem, K_FOREVER);

		// Check if USB is connected
		if (vbus_connected) {
			// Enable regulator
			buck2_set_mode(true);
			// Enable console
			console_set_mode(true);
			LOG_INF("USB is connected");
		} else {
			// Disable regulator
			buck2_set_mode(false);
			// Disable console
			console_set_mode(false);
		}
	}
}

static void usb_connection_callback(const struct device *dev, struct gpio_callback *cb,
				    uint32_t pins)
{
	if (pins & BIT(NPM1300_EVENT_VBUS_DETECTED)) {
		vbus_connected = true;
		k_sem_give(&usb_detect_sem);
	}
	if (pins & BIT(NPM1300_EVENT_VBUS_REMOVED)) {
		vbus_connected = false;
		k_sem_give(&usb_detect_sem);
	}
}

#endif

#define LED_ON_TIME_MS  100
#define LED_OFF_TIME_MS 1900

int hardware_control_flash_led(const led_id_t led_id, const int count)
{
#if DT_NODE_EXISTS(DT_NODELABEL(npm1300_led))
	static const struct device *led_dev = DEVICE_DT_GET(DT_NODELABEL(npm1300_led));
#elif DT_NODE_EXISTS(DT_ALIAS(led0))
	static const struct device *led_dev = DEVICE_DT_GET(DT_PARENT(DT_NODELABEL(led0)));
#elif DT_NODE_EXISTS(DT_ALIAS(led1))
	static const struct device *led_dev = DEVICE_DT_GET(DT_PARENT(DT_NODELABEL(led1)));
#else
	return -ENXIO;
#endif

	if (!((led_id == LED_1 && DT_NODE_EXISTS(DT_ALIAS(led0))) ||
	      (led_id == LED_2 && DT_NODE_EXISTS(DT_ALIAS(led1))))) {
		return -ENXIO;
	}

	for (int i = 0; i < count; ++i) {
		led_on(led_dev, led_id);
		k_sleep(K_MSEC(LED_ON_TIME_MS));
		led_off(led_dev, led_id);

		if (i < count) {
			k_sleep(K_MSEC(LED_OFF_TIME_MS));
		}
	}

	return 0;
}

void hardware_control_init(void)
{
	// Enable console
	console_set_mode(true);

	// Power saving
	hardware_control_disable_accelerometer();
	hardware_control_disable_switch0();
	hardware_control_disable_external_flash();

	// Note: USB event callbacks have been setup for npm1300.
	// This will disable the console and buck2 when a USB connection is absent, and
	// re-enable when present.
#if DT_NODE_EXISTS(DT_NODELABEL(npm1300_buck2)) && DT_NODE_EXISTS(DT_NODELABEL(npm1300_pmic))

	// Setup callback for PMIC events
	static struct gpio_callback usb_cb;
	gpio_init_callback(&usb_cb, usb_connection_callback,
			   BIT(NPM1300_EVENT_VBUS_DETECTED) | BIT(NPM1300_EVENT_VBUS_REMOVED));

	static const struct device *const pmic = DEVICE_DT_GET(DT_NODELABEL(npm1300_pmic));
	mfd_npm1300_add_callback(pmic, &usb_cb);

	// Initialise vbus detection status
	static const struct device *const charger = DEVICE_DT_GET(DT_NODELABEL(npm1300_charger));
	struct sensor_value val;

	int err = sensor_attr_get(charger, SENSOR_CHAN_CURRENT, SENSOR_ATTR_UPPER_THRESH, &val);
	if (err == 0) {
		vbus_connected = (val.val1 != 0) || (val.val2 != 0);
		k_sem_give(&usb_detect_sem);
	} else {
		LOG_ERR("Failed to initialise vbus value");
	}

	// Create task to process USB connect/disconnect events
	k_thread_create(&usb_conn_thread_data, usb_conn_stack_area,
			K_THREAD_STACK_SIZEOF(usb_conn_stack_area), usb_connection_task, NULL, NULL,
			NULL, USB_CONN_TASK_PRIORITY, 0, K_NO_WAIT);
#endif

	return;
}
```
